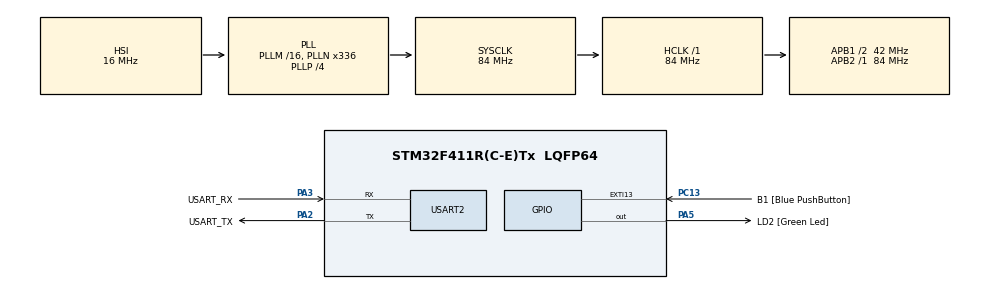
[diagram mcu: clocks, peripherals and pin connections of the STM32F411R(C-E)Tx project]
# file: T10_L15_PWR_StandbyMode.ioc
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Mcu.Family=STM32F4
Mcu.Name=STM32F411R(C-E)Tx
Mcu.Package=LQFP64
NVIC.PriorityGroup=NVIC_PRIORITYGROUP_0
PA0-WKUP.Mode=SYS_WakeUp0
PA0-WKUP.Signal=SYS_WKUP
PA13.GPIO_Label=TMS
PA13.Mode=Serial_Wire
PA13.Signal=SYS_JTMS-SWDIO
PA14.GPIO_Label=TCK
PA14.Mode=Serial_Wire
PA14.Signal=SYS_JTCK-SWCLK
PA2.GPIO_Label=USART_TX
PA2.Mode=Asynchronous
PA2.Signal=USART2_TX
PA3.GPIO_Label=USART_RX
PA3.Mode=Asynchronous
PA3.Signal=USART2_RX
PA5.GPIO_Label=LD2 [Green Led]
PA5.Signal=GPIO_Output
PB3.GPIO_Label=SWO
PB3.Signal=SYS_JTDO-SWO
PC13-ANTI_TAMP.GPIO_Label=B1 [Blue PushButton]
PC13-ANTI_TAMP.GPIO_ModeDefaultEXTI=GPIO_MODE_IT_FALLING
PC13-ANTI_TAMP.Signal=GPXTI13
PC14-OSC32_IN.Mode=LSE-External-Oscillator
PC14-OSC32_IN.Signal=RCC_OSC32_IN
PC15-OSC32_OUT.Mode=LSE-External-Oscillator
PC15-OSC32_OUT.Signal=RCC_OSC32_OUT
PH0\ -\ OSC_IN.Mode=HSE-External-Clock-Source
PH0\ -\ OSC_IN.Signal=RCC_OSC_IN
PH1\ -\ OSC_OUT.Mode=HSE-External-Clock-Source
PH1\ -\ OSC_OUT.Signal=RCC_OSC_OUT
ProjectManager.HeapSize=0x200
ProjectManager.StackSize=0x400
ProjectManager.TargetToolchain=STM32CubeIDE
RCC.48MHZClocksFreq_Value=84000000
RCC.AHBFreq_Value=84000000
RCC.APB1CLKDivider=RCC_HCLK_DIV2
RCC.APB1Freq_Value=42000000
RCC.APB1TimFreq_Value=84000000
RCC.APB2Freq_Value=84000000
RCC.APB2TimFreq_Value=84000000
RCC.CortexFreq_Value=84000000
RCC.FLatency-AdvancedSettings=FLASH_LATENCY_2
RCC.HCLKFreq_Value=84000000
RCC.HSE_VALUE=8000000
RCC.HSI_VALUE=16000000
RCC.PLLN=336
RCC.PLLP=RCC_PLLP_DIV4
RCC.SYSCLKFreq_VALUE=84000000
RCC.SYSCLKSource=RCC_SYSCLKSOURCE_PLLCLK
RCC.VCOOutputFreq_Value=336000000
USART2.VirtualMode=VM_ASYNC
board=NUCLEO-F411RE

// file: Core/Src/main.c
/* USER CODE BEGIN Header */
/**
  ******************************************************************************
  * @file           : main.c
  * @brief          : Main program body
  ******************************************************************************
  * @attention
  *
  * Copyright (c) 2022 STMicroelectronics.
  * All rights reserved.
  *
  * This software is licensed under terms that can be found in the LICENSE file
  * in the root directory of this software component.
  * If no LICENSE file comes with this software, it is provided AS-IS.
  *
  ******************************************************************************
  */
/* USER CODE END Header */
#include "main.h"
#include "usart.h"
#include "gpio.h"

/* USER CODE BEGIN PV */
typedef enum
{
    RESET_CAUSE_UNKNOWN = 0,
    RESET_CAUSE_LOW_POWER_RESET,
    RESET_CAUSE_WINDOW_WATCHDOG_RESET,
    RESET_CAUSE_INDEPENDENT_WATCHDOG_RESET,
    RESET_CAUSE_SOFTWARE_RESET,
    RESET_CAUSE_POWER_ON_POWER_DOWN_RESET,
    RESET_CAUSE_EXTERNAL_RESET_PIN_RESET,
    RESET_CAUSE_BROWNOUT_RESET,
}ResetCause_t;

ResetCause_t ResetCause;

/* USER CODE END PV */

void SystemClock_Config(void);
/* USER CODE BEGIN PFP */
ResetCause_t GetResetCause(void);

void UartSend(char *Message)
{
	HAL_UART_Transmit(&huart2, (uint8_t*)Message, strlen(Message), 1000);
}
/* USER CODE END PFP */

int main(void)
{

  /* MCU Configuration--------------------------------------------------------*/

  /* Reset of all peripherals, Initializes the Flash interface and the Systick. */
  HAL_Init();

  /* Configure the system clock */
  SystemClock_Config();

  /* Initialize all configured peripherals */
  MX_GPIO_Init();
  MX_USART2_UART_Init();
  /* USER CODE BEGIN 2 */
  ResetCause = GetResetCause();

    switch(ResetCause)
    {
        case RESET_CAUSE_UNKNOWN:
      	  UartSend("UNKNOWN\n\r");
            break;
        case RESET_CAUSE_LOW_POWER_RESET:
      	  UartSend("LOW_POWER_RESET\n\r");
            break;
        case RESET_CAUSE_WINDOW_WATCHDOG_RESET:
      	  UartSend("WINDOW_WATCHDOG_RESET\n\r");
            break;
        case RESET_CAUSE_INDEPENDENT_WATCHDOG_RESET:
      	  UartSend("INDEPENDENT_WATCHDOG_RESET\n\r");
            break;
        case RESET_CAUSE_SOFTWARE_RESET:
      	  UartSend("SOFTWARE_RESET\n\r");
            break;
        case RESET_CAUSE_POWER_ON_POWER_DOWN_RESET:
      	  UartSend("POWER-ON_RESET (POR) / POWER-DOWN_RESET (PDR)\n\r");
            break;
        case RESET_CAUSE_EXTERNAL_RESET_PIN_RESET:
      	  UartSend("EXTERNAL_RESET_PIN_RESET\n\r");
            break;
        case RESET_CAUSE_BROWNOUT_RESET:
      	  UartSend("BROWNOUT_RESET (BOR)\n\r");
            break;
    }

    if(__HAL_PWR_GET_FLAG(PWR_FLAG_WU) == 1)
    {
  	  __HAL_PWR_CLEAR_FLAG(PWR_FLAG_WU);
  	  UartSend("Start from WakeUp\n\r");
    }

    if(__HAL_PWR_GET_FLAG(PWR_FLAG_SB) == 1)
    {
  	  __HAL_PWR_CLEAR_FLAG(PWR_FLAG_SB);
  	  UartSend("Start from Standby\n\r");
    }

  /* USER CODE END 2 */

  /* Infinite loop */
  /* USER CODE BEGIN WHILE */
  while (1)
  {
	for(uint8_t i =0; i<10; i++)
	{
		HAL_GPIO_TogglePin(LD2_GPIO_Port,LD2_Pin);
		HAL_Delay(100);
	}
	HAL_PWR_EnableWakeUpPin(PWR_WAKEUP_PIN1);
	HAL_PWR_EnterSTANDBYMode();
    /* USER CODE END WHILE */

  }
}

void SystemClock_Config(void)
{
  RCC_OscInitTypeDef RCC_OscInitStruct = {0};
  RCC_ClkInitTypeDef RCC_ClkInitStruct = {0};

  /** Configure the main internal regulator output voltage
  */
  __HAL_RCC_PWR_CLK_ENABLE();
  __HAL_PWR_VOLTAGESCALING_CONFIG(PWR_REGULATOR_VOLTAGE_SCALE1);
  /** Initializes the RCC Oscillators according to the specified parameters
  * in the RCC_OscInitTypeDef structure.
  */
  RCC_OscInitStruct.OscillatorType = RCC_OSCILLATORTYPE_HSI;
  RCC_OscInitStruct.HSIState = RCC_HSI_ON;
  RCC_OscInitStruct.HSICalibrationValue = RCC_HSICALIBRATION_DEFAULT;
  RCC_OscInitStruct.PLL.PLLState = RCC_PLL_ON;
  RCC_OscInitStruct.PLL.PLLSource = RCC_PLLSOURCE_HSI;
  RCC_OscInitStruct.PLL.PLLM = 16;
  RCC_OscInitStruct.PLL.PLLN = 336;
  RCC_OscInitStruct.PLL.PLLP = RCC_PLLP_DIV4;
  RCC_OscInitStruct.PLL.PLLQ = 4;
  if (HAL_RCC_OscConfig(&RCC_OscInitStruct) != HAL_OK)
  {
    Error_Handler();
  }
  /** Initializes the CPU, AHB and APB buses clocks
  */
  RCC_ClkInitStruct.ClockType = RCC_CLOCKTYPE_HCLK|RCC_CLOCKTYPE_SYSCLK
                              |RCC_CLOCKTYPE_PCLK1|RCC_CLOCKTYPE_PCLK2;
  RCC_ClkInitStruct.SYSCLKSource = RCC_SYSCLKSOURCE_PLLCLK;
  RCC_ClkInitStruct.AHBCLKDivider = RCC_SYSCLK_DIV1;
  RCC_ClkInitStruct.APB1CLKDivider = RCC_HCLK_DIV2;
  RCC_ClkInitStruct.APB2CLKDivider = RCC_HCLK_DIV1;

  if (HAL_RCC_ClockConfig(&RCC_ClkInitStruct, FLASH_LATENCY_2) != HAL_OK)
  {
    Error_Handler();
  }
}

/* USER CODE BEGIN 4 */
ResetCause_t GetResetCause(void)
{
	ResetCause_t ResetCause;

    if (__HAL_RCC_GET_FLAG(RCC_FLAG_LPWRRST))
    {
        ResetCause = RESET_CAUSE_LOW_POWER_RESET;
    }
    else if (__HAL_RCC_GET_FLAG(RCC_FLAG_WWDGRST))
    {
        ResetCause = RESET_CAUSE_WINDOW_WATCHDOG_RESET;
    }
    else if (__HAL_RCC_GET_FLAG(RCC_FLAG_IWDGRST))
    {
        ResetCause = RESET_CAUSE_INDEPENDENT_WATCHDOG_RESET;
    }
    else if (__HAL_RCC_GET_FLAG(RCC_FLAG_SFTRST))
    {
        ResetCause = RESET_CAUSE_SOFTWARE_RESET; // This reset is induced by calling the ARM CMSIS `NVIC_SystemReset()` function!
    }
    else if (__HAL_RCC_GET_FLAG(RCC_FLAG_PORRST))
    {
        ResetCause = RESET_CAUSE_POWER_ON_POWER_DOWN_RESET;
    }
    else if (__HAL_RCC_GET_FLAG(RCC_FLAG_PINRST))
    {
        ResetCause = RESET_CAUSE_EXTERNAL_RESET_PIN_RESET;
    }
    // Needs to come *after* checking the `RCC_FLAG_PORRST` flag in order to ensure first that the reset cause is
    // NOT a POR/PDR reset. See note below.
    else if (__HAL_RCC_GET_FLAG(RCC_FLAG_BORRST))
    {
        ResetCause = RESET_CAUSE_BROWNOUT_RESET;
    }
    else
    {
        ResetCause = RESET_CAUSE_UNKNOWN;
    }

    // Clear all the reset flags or else they will remain set during future resets until system power is fully removed.
    __HAL_RCC_CLEAR_RESET_FLAGS();

    return ResetCause;
}

/* USER CODE END 4 */

void Error_Handler(void)
{
  __disable_irq();
  while (1)
  {
  }
}
